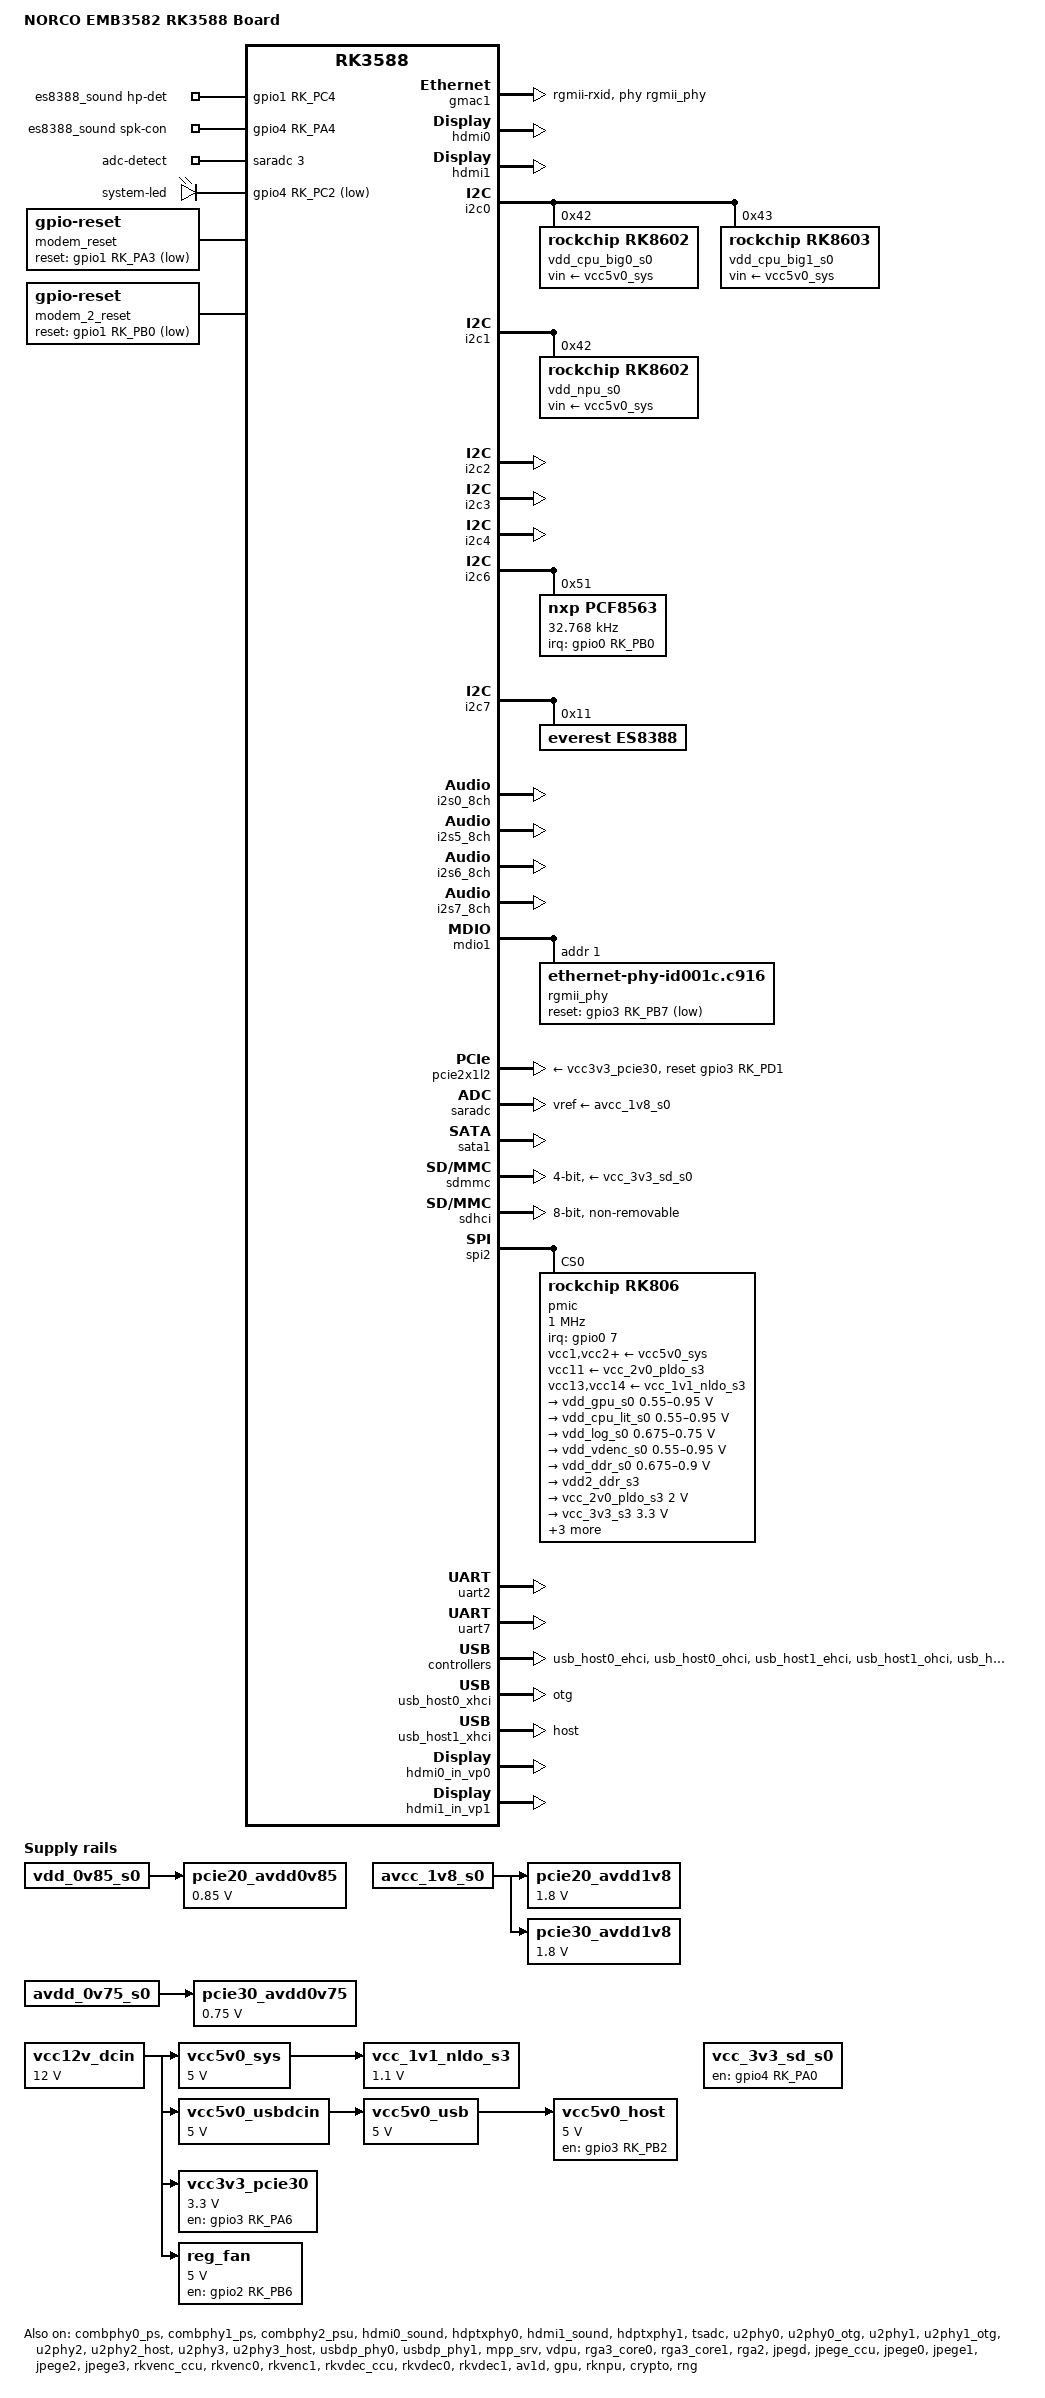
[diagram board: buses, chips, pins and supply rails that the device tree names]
// SPDX-License-Identifier: (GPL-2.0+ OR MIT)
/*
 * Copyright (c) 2021 Rockchip Electronics Co., Ltd.
 * Copyright (c) 2023 Thomas McKahan
 *
 */

/dts-v1/;

#include <dt-bindings/gpio/gpio.h>
#include <dt-bindings/interrupt-controller/irq.h>
#include <dt-bindings/input/rk-input.h>
#include <dt-bindings/leds/common.h>
#include <dt-bindings/pinctrl/rockchip.h>
#include <dt-bindings/display/rockchip_vop.h>
#include <dt-bindings/pwm/pwm.h>
#include "rk3588.dtsi"
#include "rk3588-android.dtsi"

/ {
	model = "NORCO EMB3582 RK3588 Board";
	compatible = "norco,rk3588-emb3582-v12", "rockchip,rk3588";

	aliases {
		ethernet0 = &gmac1;
		mmc0 = &sdhci;
		mmc1 = &sdmmc;
	};

	adc-keys {
		compatible = "adc-keys";
		io-channels = <&saradc 1>;
		io-channel-names = "buttons";
		keyup-threshold-microvolt = <1800000>;
		poll-interval = <100>;
		status = "disabled";

		button-vol-up {
			label = "Volume Up";
			linux,code = <KEY_VOLUMEUP>;
			press-threshold-microvolt = <17000>;
		};

		button-vol-down {
			label = "Volume Down";
			linux,code = <KEY_VOLUMEDOWN>;
			press-threshold-microvolt = <417000>;
		};

		button-menu {
			label = "Menu";
			linux,code = <KEY_MENU>;
			press-threshold-microvolt = <890000>;
		};

		button-back {
			label = "back";
			linux,code = <KEY_ESC>;
			press-threshold-microvolt = <1235000>;
		};
	};

	chosen {
		stdout-path = "serial2:1500000n8";
	};

	es8388_sound: es8388-sound {
		status = "okay";
		compatible = "rockchip,multicodecs-card";
		rockchip,card-name = "rockchip,es8388";
		hp-det-gpio = <&gpio1 RK_PC4 GPIO_ACTIVE_HIGH>;
		io-channels = <&saradc 3>;
		io-channel-names = "adc-detect";
		keyup-threshold-microvolt = <1800000>;
		poll-interval = <100>;
		spk-con-gpio = <&gpio4 RK_PA4 GPIO_ACTIVE_HIGH>;
		//hp-con-gpio = <&gpio1 RK_PD2 GPIO_ACTIVE_HIGH>;
		rockchip,format = "i2s";
		rockchip,mclk-fs = <256>;
		rockchip,cpu = <&i2s0_8ch>;
		rockchip,codec = <&es8388>;
		rockchip,audio-routing =
			"Headphone", "LOUT1",
			"Headphone", "ROUT1",
			"Speaker", "LOUT2",
			"Speaker", "ROUT2",
			"Headphone", "Headphone Power",
			"Headphone", "Headphone Power",
			"Speaker", "Speaker Power",
			"Speaker", "Speaker Power",
			"LINPUT1", "Main Mic",
			"LINPUT2", "Main Mic",
			"RINPUT1", "Headset Mic",
			"RINPUT2", "Headset Mic";
		pinctrl-names = "default";
		//pinctrl-0 = <&hp_det>;
		play-pause-key {
			label = "playpause";
			linux,code = <KEY_PLAYPAUSE>;
			press-threshold-microvolt = <2000>;
		};
	};





	leds {
		compatible = "gpio-leds";

		work_led: work {
			gpios = <&gpio4 RK_PC2 GPIO_ACTIVE_LOW>;
			label = "system-led";
			default-state = "off";
			linux,default-trigger = "heartbeat";
		};
	};

	modem_reset: modem-reset {
		compatible = "gpio-reset";
		reset-gpios = <&gpio1 RK_PA3 GPIO_ACTIVE_LOW>;
		reset-delay-us = <200000>;
		reset-post-delay-ms = <40>;
		#reset-cells = <0x00>;
	};

	modem_2_reset: modem-2-reset {
		compatible = "gpio-reset";
		reset-gpios = <&gpio1 RK_PB0 GPIO_ACTIVE_LOW>;
		reset-delay-us = <400000>;
		reset-post-delay-ms = <40>;
		#reset-cells = <0x00>;
	};

	reset-modem {
		compatible = "gpio-reset-consumer";
		resets = <&modem_reset>;
		usb-bus-port = "fc800000";
	};

	reset-modem-2 {
		compatible = "gpio-reset-consumer";
		resets = <&modem_2_reset>;
		usb-bus-port = "fc000000";
	};

	pwm_fan: pwm-fan {
		compatible = "pwm-fan";
		cooling-levels = <0 120 150 180 210 240 255>;
		pwms = <&pwm3 0 50000 0>;
		fan-supply = <&reg_fan>;
		#cooling-cells = <2>;
	};

	test-power {
		status = "okay";
	};

	vcc12v_dcin: regulator-vcc12v-dcin {
		compatible = "regulator-fixed";
		regulator-name = "vcc12v_dcin";
		regulator-always-on;
		regulator-boot-on;
		regulator-min-microvolt = <12000000>;
		regulator-max-microvolt = <12000000>;
	};

	/* vcc5v0_sys powers peripherals */
	vcc5v0_sys: regulator-vcc5v0-sys {
		compatible = "regulator-fixed";
		regulator-name = "vcc5v0_sys";
		regulator-always-on;
		regulator-boot-on;
		regulator-min-microvolt = <5000000>;
		regulator-max-microvolt = <5000000>;
		vin-supply = <&vcc12v_dcin>;
	};

	vcc5v0_usbdcin: regulator-vcc5v0-usbdcin {
		compatible = "regulator-fixed";
		regulator-name = "vcc5v0_usbdcin";
		regulator-always-on;
		regulator-boot-on;
		regulator-min-microvolt = <5000000>;
		regulator-max-microvolt = <5000000>;
		vin-supply = <&vcc12v_dcin>;
	};

	vcc5v0_usb: regulator-vcc5v0-usb {
		compatible = "regulator-fixed";
		regulator-name = "vcc5v0_usb";
		regulator-always-on;
		regulator-boot-on;
		regulator-min-microvolt = <5000000>;
		regulator-max-microvolt = <5000000>;
		vin-supply = <&vcc5v0_usbdcin>;
	};

	vcc5v0_host: vcc5v0-host {
		compatible = "regulator-fixed";
		regulator-name = "vcc5v0_host";
		regulator-boot-on;
		regulator-always-on;
		regulator-min-microvolt = <5000000>;
		regulator-max-microvolt = <5000000>;
		enable-active-high;
		gpio = <&gpio3 RK_PB2 GPIO_ACTIVE_HIGH>;
		vin-supply = <&vcc5v0_usb>;
		pinctrl-names = "default";
		pinctrl-0 = <&vcc5v0_host_en>;
	};

	/* vcc5v0_otg: vcc5v0-otg-regulator {
		compatible = "regulator-fixed";
		regulator-name = "vcc5v0_otg";
		regulator-min-microvolt = <5000000>;
		regulator-max-microvolt = <5000000>;
		enable-active-high;
		gpio = <&gpio4 RK_PA7 GPIO_ACTIVE_HIGH>;
		vin-supply = <&vcc5v0_sys>;
		pinctrl-names = "default";
		pinctrl-0 = <&vcc5v0_otg_en>;
	}; */

	pcie20_avdd0v85: pcie20-avdd0v85-regulator {
		compatible = "regulator-fixed";
		regulator-name = "pcie20_avdd0v85";
		regulator-always-on;
		regulator-boot-on;
		regulator-min-microvolt = <850000>;
		regulator-max-microvolt = <850000>;
		vin-supply = <&vdd_0v85_s0>;
	};

	pcie20_avdd1v8: pcie20-avdd1v8-regulator {
		compatible = "regulator-fixed";
		regulator-name = "pcie20_avdd1v8";
		regulator-always-on;
		regulator-boot-on;
		regulator-min-microvolt = <1800000>;
		regulator-max-microvolt = <1800000>;
		vin-supply = <&avcc_1v8_s0>;
	};

	pcie30_avdd0v75: pcie30-avdd0v75-regulator {
		compatible = "regulator-fixed";
		regulator-name = "pcie30_avdd0v75";
		regulator-always-on;
		regulator-boot-on;
		regulator-min-microvolt = <750000>;
		regulator-max-microvolt = <750000>;
		vin-supply = <&avdd_0v75_s0>;
	};

	pcie30_avdd1v8: pcie30-avdd1v8-regulator {
		compatible = "regulator-fixed";
		regulator-name = "pcie30_avdd1v8";
		regulator-always-on;
		regulator-boot-on;
		regulator-min-microvolt = <1800000>;
		regulator-max-microvolt = <1800000>;
		vin-supply = <&avcc_1v8_s0>;
	};

	vcc_1v1_nldo_s3: regulator-vcc-1v1-nldo-s3 {
		compatible = "regulator-fixed";
		regulator-name = "vcc-1v1-nldo-s3";
		regulator-always-on;
		regulator-boot-on;
		regulator-min-microvolt = <1100000>;
		regulator-max-microvolt = <1100000>;
		vin-supply = <&vcc5v0_sys>;
	};

	vcc3v3_pcie30: vcc3v3-pcie30-regulator {
		compatible = "regulator-fixed";
		enable-active-high;
		gpios = <&gpio3 RK_PA6 GPIO_ACTIVE_HIGH>;
		regulator-name = "vcc3v3_pcie30";
		regulator-min-microvolt = <3300000>;
		regulator-max-microvolt = <3300000>;
		startup-delay-us = <5000>;
		vin-supply = <&vcc12v_dcin>;
	};

	vcc_3v3_sd_s0: vcc-3v3-sd-s0-regulator {
		compatible = "regulator-fixed";
		regulator-name = "vcc_3v3_sd_s0";
		enable-active-high;
		gpio = <&gpio4 RK_PA0 GPIO_ACTIVE_HIGH>;
		pinctrl-names = "default";
		pinctrl-0 = <&sd_s0_pwr_1>;
	};

	reg_fan: reg-fan {
		compatible = "regulator-fixed";
		regulator-name = "reg_fan";
		regulator-boot-on;
		regulator-min-microvolt = <5000000>;
		regulator-max-microvolt = <5000000>;
		enable-active-high;
		gpios = <&gpio2 RK_PB6 GPIO_ACTIVE_HIGH>;
		vin-supply = <&vcc12v_dcin>;
	};

	/* wireless_bluetooth: wireless-bluetooth {
		compatible = "bluetooth-platdata";
		clocks = <&hym8563>;
		clock-names = "ext_clock";
		uart_rts_gpios = <&gpio3 RK_PA4 GPIO_ACTIVE_LOW>;
		pinctrl-names = "default", "rts_gpio";
		pinctrl-0 = <&uart8m1_rtsn>, <&bt_reset_gpio>, <&bt_wake_gpio>, <&bt_irq_gpio>;
		pinctrl-1 = <&uart8_gpios>;
		BT,reset_gpio    = <&gpio0 RK_PC6 GPIO_ACTIVE_HIGH>;
		BT,wake_gpio     = <&gpio0 RK_PC5 GPIO_ACTIVE_HIGH>;
		BT,wake_host_irq = <&gpio0 RK_PA0 GPIO_ACTIVE_HIGH>;
		status = "okay";
	};

	wireless_wlan: wireless-wlan {
		compatible = "wlan-platdata";
		wifi_chip_type = "ap6255";
		pinctrl-names = "default";
		pinctrl-0 = <&wifi_host_wake_irq>, <&wifi_poweren_gpio>;
		WIFI,host_wake_irq = <&gpio0 RK_PB2 GPIO_ACTIVE_HIGH>;
		WIFI,poweren_gpio = <&gpio0 RK_PC4 GPIO_ACTIVE_HIGH>;
		status = "okay";
	}; */

	reserved-memory {
		#address-cells = <2>;
		#size-cells = <2>;
		ranges;

		cma {
			compatible = "shared-dma-pool";
			reusable;
			/delete-property/ size;
			reg = <0x0 (256 * 0x100000) 0x0 (256 * 0x100000)>;
			linux,cma-default;
		};
	};
};

&combphy0_ps {
	status = "okay";
};

&combphy1_ps {
	status = "okay";
};

&combphy2_psu {
	status = "okay";
};

&cpu_l0 {
	cpu-supply = <&vdd_cpu_lit_s0>;
};

&cpu_l1 {
	cpu-supply = <&vdd_cpu_lit_s0>;
};

&cpu_l2 {
	cpu-supply = <&vdd_cpu_lit_s0>;
};

&cpu_l3 {
	cpu-supply = <&vdd_cpu_lit_s0>;
};

&cpu_b0 {
	cpu-supply = <&vdd_cpu_big0_s0>;
};

&cpu_b1 {
	cpu-supply = <&vdd_cpu_big0_s0>;
};

&cpu_b2 {
	cpu-supply = <&vdd_cpu_big1_s0>;
};

&cpu_b3 {
	cpu-supply = <&vdd_cpu_big1_s0>;
};

/* Use rgmii-rxid mode to disable rx delay inside Soc 
 * ethernet@fe1b0000 */
&gmac0 {
	status = "disabled";
};

/* Use rgmii-rxid mode to disable rx delay inside Soc 
 * ethernet@fe1c0000 */
&gmac1 {
	clock_in_out = "output";
	phy-handle = <&rgmii_phy>;
	phy-mode = "rgmii-rxid";
	pinctrl-names = "default";
	pinctrl-0 = <&gmac1_miim
		     &gmac1_tx_bus2
		     &gmac1_rx_bus2
		     &gmac1_rgmii_clk
		     &gmac1_rgmii_bus>;
	tx_delay = <0x42>;
	status = "okay";
};

/* hdmi@fde80000 */
&hdmi0 {
	enable-gpios = <&gpio4 RK_PB1 GPIO_ACTIVE_HIGH>;
	status = "okay";
};



&hdmi0_sound {
	status = "okay";
};

&hdptxphy0 {
	status = "okay";
};

/* hdmi@fdea0000 */
&hdmi1 {
	//enable-gpios = <&gpio4 RK_PB2 GPIO_ACTIVE_HIGH>;
	status = "okay";
};



&hdmi1_sound {
	status = "okay";
};

&hdptxphy1 {
	status = "okay";
};

 /* hdmi-in nodes */
&hdmi_receiver {
	status = "disabled";
};

&hdmi_receiver_cma {
	status = "disabled";
};

/* i2c@fd880000 */
&i2c0 {
	pinctrl-names = "default";
	pinctrl-0 = <&i2c0m2_xfer>;
	status = "okay";

	vdd_cpu_big0_s0: regulator@42 {
		compatible = "rockchip,rk8602";
		reg = <0x42>;
		fcs,suspend-voltage-selector = <1>;
		regulator-name = "vdd_cpu_big0_s0";
		regulator-always-on;
		regulator-boot-on;
		regulator-min-microvolt = <550000>;
		regulator-max-microvolt = <1050000>;
		regulator-ramp-delay = <2300>;
		vin-supply = <&vcc5v0_sys>;

		regulator-state-mem {
			regulator-off-in-suspend;
		};
	};

	vdd_cpu_big1_s0: regulator@43 {
		compatible = "rockchip,rk8603", "rockchip,rk8602";
		reg = <0x43>;
		fcs,suspend-voltage-selector = <1>;
		regulator-name = "vdd_cpu_big1_s0";
		regulator-always-on;
		regulator-boot-on;
		regulator-min-microvolt = <550000>;
		regulator-max-microvolt = <1050000>;
		regulator-ramp-delay = <2300>;
		vin-supply = <&vcc5v0_sys>;

		regulator-state-mem {
			regulator-off-in-suspend;
		};
	};
};

/* i2c@fea90000 */
&i2c1 {
	pinctrl-names = "default";
	pinctrl-0 = <&i2c1m2_xfer>;
	status = "okay";

	vdd_npu_s0: regulator@42 {
		compatible = "rockchip,rk8602";
		reg = <0x42>;
		fcs,suspend-voltage-selector = <1>;
		regulator-name = "vdd_npu_s0";
		regulator-always-on;
		regulator-boot-on;
		regulator-min-microvolt = <550000>;
		regulator-max-microvolt = <950000>;
		regulator-ramp-delay = <2300>;
		vin-supply = <&vcc5v0_sys>;

		regulator-state-mem {
			regulator-off-in-suspend;
		};
	};
};

/* i2c@feaa0000 */
&i2c2 {
	pinctrl-names = "default";
	pinctrl-0 = <&i2c2m4_xfer>;
	status = "okay";
};

/* i2c@feab0000 */
&i2c3 {
	pinctrl-names = "default";
	pinctrl-0 = <&i2c3m0_xfer>;
	status = "okay";
};

/* i2c@feac0000*/
&i2c4 {
	pinctrl-names = "default";
	pinctrl-0 = <&i2c4m1_xfer>;
	status = "okay";
};

/* i2c@fec80000 */
&i2c6 {
	pinctrl-names = "default";
	pinctrl-0 = <&i2c6m0_xfer>;
	status = "okay";

	pcf8563: pcf8563@51 {
		compatible = "nxp,pcf8563";
		reg = <0x51>;
		#clock-cells = <0>;
		clock-frequency = <32768>;
		clock-output-names = "pcf8563";
		interrupt-parent = <&gpio0>;
		interrupts = <RK_PB0 IRQ_TYPE_LEVEL_LOW>;
		pinctrl-names = "default";
		pinctrl-0 = <&pcf8563_int>;
		wakeup-source;
	};
};

/* i2c@fec90000 
 * es8388-sound */
&i2c7 {
	pinctrl-names = "default";
	pinctrl-0 = <&i2c7m0_xfer>;
	status = "okay";

	es8388: es8388@11 {
		status = "okay";
		#sound-dai-cells = <0>;
		compatible = "everest,es8388","everest,es8323";
		reg = <0x11>;
		clocks = <&cru I2S0_8CH_MCLKOUT>;
		clock-names = "mclk";
		assigned-clocks = <&cru I2S0_8CH_MCLKOUT>;
		assigned-clock-rates = <12288000>;
		pinctrl-names = "default";
		pinctrl-0 = <&i2s0_mclk>;
	};
};

/* i2s@fe470000 
 * es8388-sound */
&i2s0_8ch {
	pinctrl-names = "default", "idle", "clk";
	pinctrl-0 = <&i2s0_lrck
		     &i2s0_sclk
		     &i2s0_sdi0
		     &i2s0_sdo0>;
	pinctrl-1 = <&i2s0_idle>;
	pinctrl-2 = <&i2s0_lrck 
			 &i2s0_sclk>;
	#sound-dai-cells = <0>;
	status = "okay";
};

/* i2s@fddf0000 
 * hdmi0-sound */
&i2s5_8ch {
	#sound-dai-cells = <0>;
	status = "okay";
};

/* i2s@fddf4000 
 * hdmi1-sound */
&i2s6_8ch {
	#sound-dai-cells = <0>;
	status = "okay";
};

/* i2s@fddf8000 
 * hdmiin-sound */
&i2s7_8ch {
	#sound-dai-cells = <0>;
	status = "okay";
};

&mdio1 {
	rgmii_phy: ethernet-phy@1 {
		/* RTL8211F */
		compatible = "ethernet-phy-id001c.c916";
		reg = <0x1>;
		pinctrl-names = "default";
		pinctrl-0 = <&rtl8211f_rst>;
		reset-assert-us = <20000>;
		reset-deassert-us = <100000>;
		reset-gpios = <&gpio3 RK_PB7 GPIO_ACTIVE_LOW>;
	};
};

&package_thermal {
	polling-delay = <1000>;

	trips {
		package_fan0: package-fan0 {
			temperature = <55000>;
			hysteresis = <2000>;
			type = "active";
		};

		package_fan1: package-fan1 {
			temperature = <65000>;
			hysteresis = <2000>;
			type = "active";
		};
	};

	cooling-maps {
		map1 {
			trip = <&package_fan0>;
			cooling-device = <&pwm_fan THERMAL_NO_LIMIT 1>;
		};

		map2 {
			trip = <&package_fan1>;
			cooling-device = <&pwm_fan 2 THERMAL_NO_LIMIT>;
		};
	};
};

/* pcie@fe170000 */
&pcie2x1l0 {
	rockchip,pipe-grf = <&php_grf>;
	reset-gpios = <&gpio1 RK_PB4 GPIO_ACTIVE_HIGH>;
	//rockchip,skip-scan-in-resume;
	status = "disabled";
};

/* pcie@fe180000 */
&pcie2x1l1 {
	rockchip,pipe-grf = <&php_grf>;
	//reset-gpios = <&gpio4 RK_PA2 GPIO_ACTIVE_HIGH>;
	//pinctrl-names = "default";
	//pinctrl-0 = <&rtl8111_isolate>;
	status = "disabled";
};

/* pcie@fe190000 
 * rtl8111 PCIEX1_1 */
&pcie2x1l2 {
	rockchip,pipe-grf = <&php_grf>;
	reset-gpios = <&gpio3 RK_PD1 GPIO_ACTIVE_HIGH>;
	vpcie3v3-supply = <&vcc3v3_pcie30>;
	//pinctrl-names = "default";
	//pinctrl-0 = <&rtl8111_isolate>;
	status = "okay";
};

/* phy@fee80000 */
&pcie30phy {
	//data-lanes = <1 1 2 2>;
	status = "disabled";
};

/* pcie@fe160000 
 * m2 nvme1 */
&pcie3x2 {
	//reset-gpios = <&gpio1 RK_PB7 GPIO_ACTIVE_HIGH>;
	//vpcie3v3-supply = <&vcc3v3_pcie30>;
	status = "disabled";
};

/* pcie@fe150000 
 * m2 nvme2 */
&pcie3x4 {
	//num-lanes=<2>;
	reset-gpios = <&gpio4 RK_PB6 GPIO_ACTIVE_HIGH>;
	vpcie3v3-supply = <&vcc3v3_pcie30>;
	status = "disabled";
	pinctrl-names = "default";
	pinctrl-0 = <&pcie30x4_clkreqn_m1>;
};

&pinctrl {

	headphone {
		hp_det: hp-det {
			rockchip,pins = <1 RK_PC4 RK_FUNC_GPIO &pcfg_pull_none>;
		};
	};

	i2s0 {
		i2s0_idle: i2s0-idle {
			rockchip,pins = <1 RK_PC5 RK_FUNC_GPIO &pcfg_pull_up 
							1 RK_PC3 RK_FUNC_GPIO &pcfg_pull_up>;
		};
	};

	pcf8563 {
		pcf8563_int: pcf8563-int {
			rockchip,pins = <0 RK_PB0 RK_FUNC_GPIO &pcfg_pull_up>;
		};
	};

	/* rtl8111 {
		rtl8111_isolate: rtl8111-isolate {
			rockchip,pins = <1 RK_PA4 RK_FUNC_GPIO &pcfg_pull_up>;
		};
	}; */

	rtl8211f {
		rtl8211f_rst: rtl8211f-rst {
			rockchip,pins = <3 RK_PB7 RK_FUNC_GPIO &pcfg_pull_none>;
		};
	};

	pcie30x4 {
		pcie30x4_clkreqn_m1: pcie30x4-clkreqn-m1 {
			rockchip,pins = <4 RK_PB4 RK_FUNC_GPIO &pcfg_pull_down>;
		};
	};

	usb {
		vcc5v0_host_en: vcc5v0-host-en {
			rockchip,pins = <3 RK_PB2 RK_FUNC_GPIO &pcfg_pull_none>;
		};

		/* vcc5v0_otg_en: vcc5v0-otg-en {
			rockchip,pins = <4 RK_PA7 RK_FUNC_GPIO &pcfg_pull_none>;
		}; */
	};

	sdmmc {
		sd_s0_pwr_1: sd-s0-pwr-1 {
			rockchip,pins = <4 RK_PA0 RK_FUNC_GPIO &pcfg_pull_up>;
		};
	};

	/* wireless-bluetooth {
		uart8_gpios: uart8-gpios {
			rockchip,pins = <3 RK_PA4 RK_FUNC_GPIO &pcfg_pull_none>;
		};

		bt_reset_gpio: bt-reset-gpio {
			rockchip,pins = <0 RK_PC6 RK_FUNC_GPIO &pcfg_pull_none>;
		};

		bt_wake_gpio: bt-wake-gpio {
			rockchip,pins = <0 RK_PC5 RK_FUNC_GPIO &pcfg_pull_none>;
		};

		bt_irq_gpio: bt-irq-gpio {
			rockchip,pins = <0 RK_PA0 RK_FUNC_GPIO &pcfg_pull_down>;
		};
	};

	wireless-wlan {
		wifi_host_wake_irq: wifi-host-wake-irq {
			rockchip,pins = <0 RK_PB2 RK_FUNC_GPIO &pcfg_pull_down>;
		};

		wifi_poweren_gpio: wifi-poweren-gpio {
			rockchip,pins = <0 RK_PC4 RK_FUNC_GPIO &pcfg_pull_up>;
		};
	}; */
};

/* pwm@fd8b0030 
 * pwm-fan */
&pwm3 {
	pinctrl-names = "active";
	pinctrl-0 = <&pwm3m1_pins>;
	status = "okay";
};

&saradc {
	vref-supply = <&avcc_1v8_s0>;
	status = "okay";
};

/* sata@fe210000 */
&sata0 {
	status = "disabled";
};

/* sata@fe220000 */
&sata1 {
	status = "okay";
};

/* sata@fe230000 */
&sata2 {
	status = "disabled";
};

/* mmc@fe2c0000 
 * tf-card */
&sdmmc {
	max-frequency = <150000000>;
	no-sdio;
	no-mmc;
	bus-width = <4>;
	cap-mmc-highspeed;
	cap-sd-highspeed;
	disable-wp;
	sd-uhs-sdr104;
	vqmmc-supply = <&vccio_sd_s0>;
	vmmc-supply = <&vcc_3v3_sd_s0>;
	pinctrl-names = "default";
	pinctrl-0 = <&sdmmc_clk &sdmmc_cmd &sdmmc_det &sdmmc_bus4>;
	status = "okay";
};

/* mmc@fe2d0000 
 * wireless_wlan & wireless_bluetooth */
/* &sdio {
	no-sdio;
	no-mmc;
	bus-width = <4>;
	disable-wp;
	cap-sd-highspeed;
	cap-sdio-irq;
	keep-power-in-suspend;
	mmc-pwrseq = <&sdio_pwrseq>;
	non-removable;
	sd-uhs-sdr104;
	status = "disabled";
}; */

/* mmc@fe2e0000 
 * emmc */
&sdhci {
	max-frequency = <150000000>;
	bus-width = <8>;
	mmc-hs400-1_8v;
	//mmc-hs400-enhanced-strobe;
	no-sdio;
	no-sd;
	non-removable;
	full-pwr-cycle-in-suspend;
	status = "okay";
};

&spi2 {
	status = "okay";
	assigned-clocks = <&cru CLK_SPI2>;
	assigned-clock-rates = <200000000>;
	pinctrl-names = "default";
	pinctrl-0 = <&spi2m2_cs0 &spi2m2_pins>;
	num-cs = <1>;

	pmic@0 {
		compatible = "rockchip,rk806";
		spi-max-frequency = <1000000>;
		reg = <0x0>;

		interrupt-parent = <&gpio0>;
		interrupts = <7 IRQ_TYPE_LEVEL_LOW>;

		pinctrl-names = "default";
		pinctrl-0 = <&pmic_pins>, <&rk806_dvs1_null>,
			    <&rk806_dvs2_null>, <&rk806_dvs3_null>;

		system-power-controller;

		vcc1-supply = <&vcc5v0_sys>;
		vcc2-supply = <&vcc5v0_sys>;
		vcc3-supply = <&vcc5v0_sys>;
		vcc4-supply = <&vcc5v0_sys>;
		vcc5-supply = <&vcc5v0_sys>;
		vcc6-supply = <&vcc5v0_sys>;
		vcc7-supply = <&vcc5v0_sys>;
		vcc8-supply = <&vcc5v0_sys>;
		vcc9-supply = <&vcc5v0_sys>;
		vcc10-supply = <&vcc5v0_sys>;
		vcc11-supply = <&vcc_2v0_pldo_s3>;
		vcc12-supply = <&vcc5v0_sys>;
		vcc13-supply = <&vcc_1v1_nldo_s3>;
		vcc14-supply = <&vcc_1v1_nldo_s3>;
		vcca-supply = <&vcc5v0_sys>;

		gpio-controller;
		#gpio-cells = <2>;

		rk806_dvs1_null: dvs1-null-pins {
			pins = "gpio_pwrctrl1";
			function = "pin_fun0";
		};

		rk806_dvs2_null: dvs2-null-pins {
			pins = "gpio_pwrctrl2";
			function = "pin_fun0";
		};

		rk806_dvs3_null: dvs3-null-pins {
			pins = "gpio_pwrctrl3";
			function = "pin_fun0";
		};

		regulators {
			vdd_gpu_s0: vdd_gpu_mem_s0: dcdc-reg1 {
				regulator-boot-on;
				regulator-min-microvolt = <550000>;
				regulator-max-microvolt = <950000>;
				regulator-ramp-delay = <12500>;
				regulator-name = "vdd_gpu_s0";
				regulator-enable-ramp-delay = <400>;

				regulator-state-mem {
					regulator-off-in-suspend;
				};
			};

			vdd_cpu_lit_s0: vdd_cpu_lit_mem_s0: dcdc-reg2 {
				regulator-always-on;
				regulator-boot-on;
				regulator-min-microvolt = <550000>;
				regulator-max-microvolt = <950000>;
				regulator-ramp-delay = <12500>;
				regulator-name = "vdd_cpu_lit_s0";

				regulator-state-mem {
					regulator-off-in-suspend;
				};
			};

			vdd_log_s0: dcdc-reg3 {
				regulator-always-on;
				regulator-boot-on;
				regulator-min-microvolt = <675000>;
				regulator-max-microvolt = <750000>;
				regulator-ramp-delay = <12500>;
				regulator-name = "vdd_log_s0";

				regulator-state-mem {
					regulator-off-in-suspend;
					regulator-suspend-microvolt = <750000>;
				};
			};

			vdd_vdenc_s0: vdd_vdenc_mem_s0: dcdc-reg4 {
				regulator-always-on;
				regulator-boot-on;
				regulator-min-microvolt = <550000>;
				regulator-max-microvolt = <950000>;
				regulator-ramp-delay = <12500>;
				regulator-name = "vdd_vdenc_s0";

				regulator-state-mem {
					regulator-off-in-suspend;
				};
			};

			vdd_ddr_s0: dcdc-reg5 {
				regulator-always-on;
				regulator-boot-on;
				regulator-min-microvolt = <675000>;
				regulator-max-microvolt = <900000>;
				regulator-ramp-delay = <12500>;
				regulator-name = "vdd_ddr_s0";

				regulator-state-mem {
					regulator-off-in-suspend;
					regulator-suspend-microvolt = <850000>;
				};
			};

			vdd2_ddr_s3: dcdc-reg6 {
				regulator-always-on;
				regulator-boot-on;
				regulator-name = "vdd2_ddr_s3";

				regulator-state-mem {
					regulator-on-in-suspend;
				};
			};

			vcc_2v0_pldo_s3: dcdc-reg7 {
				regulator-always-on;
				regulator-boot-on;
				regulator-min-microvolt = <2000000>;
				regulator-max-microvolt = <2000000>;
				regulator-ramp-delay = <12500>;
				regulator-name = "vdd_2v0_pldo_s3";

				regulator-state-mem {
					regulator-on-in-suspend;
					regulator-suspend-microvolt = <2000000>;
				};
			};

			vcc_3v3_s3: dcdc-reg8 {
				regulator-always-on;
				regulator-boot-on;
				regulator-min-microvolt = <3300000>;
				regulator-max-microvolt = <3300000>;
				regulator-name = "vcc_3v3_s3";

				regulator-state-mem {
					regulator-on-in-suspend;
					regulator-suspend-microvolt = <3300000>;
				};
			};

			vddq_ddr_s0: dcdc-reg9 {
				regulator-always-on;
				regulator-boot-on;
				regulator-name = "vddq_ddr_s0";

				regulator-state-mem {
					regulator-off-in-suspend;
				};
			};

			vcc_1v8_s3: dcdc-reg10 {
				regulator-always-on;
				regulator-boot-on;
				regulator-min-microvolt = <1800000>;
				regulator-max-microvolt = <1800000>;
				regulator-name = "vcc_1v8_s3";

				regulator-state-mem {
					regulator-on-in-suspend;
					regulator-suspend-microvolt = <1800000>;
				};
			};

			avcc_1v8_s0: pldo-reg1 {
				regulator-always-on;
				regulator-boot-on;
				regulator-min-microvolt = <1800000>;
				regulator-max-microvolt = <1800000>;
				regulator-name = "avcc_1v8_s0";

				regulator-state-mem {
					regulator-off-in-suspend;
				};
			};

			vcc_1v8_s0: pldo-reg2 {
				regulator-always-on;
				regulator-boot-on;
				regulator-min-microvolt = <1800000>;
				regulator-max-microvolt = <1800000>;
				regulator-name = "vcc_1v8_s0";

				regulator-state-mem {
					regulator-off-in-suspend;
					regulator-suspend-microvolt = <1800000>;
				};
			};

			avdd_1v2_s0: pldo-reg3 {
				regulator-always-on;
				regulator-boot-on;
				regulator-min-microvolt = <1200000>;
				regulator-max-microvolt = <1200000>;
				regulator-name = "avdd_1v2_s0";

				regulator-state-mem {
					regulator-off-in-suspend;
				};
			};

			vcc_3v3_s0: pldo-reg4 {
				regulator-always-on;
				regulator-boot-on;
				regulator-min-microvolt = <3300000>;
				regulator-max-microvolt = <3300000>;
				regulator-ramp-delay = <12500>;
				regulator-name = "vcc_3v3_s0";

				regulator-state-mem {
					regulator-off-in-suspend;
				};
			};

			vccio_sd_s0: pldo-reg5 {
				regulator-always-on;
				regulator-boot-on;
				regulator-min-microvolt = <1800000>;
				regulator-max-microvolt = <3300000>;
				regulator-ramp-delay = <12500>;
				regulator-name = "vccio_sd_s0";

				regulator-state-mem {
					regulator-off-in-suspend;
				};
			};

			pldo6_s3: pldo-reg6 {
				regulator-always-on;
				regulator-boot-on;
				regulator-min-microvolt = <1800000>;
				regulator-max-microvolt = <1800000>;
				regulator-name = "pldo6_s3";

				regulator-state-mem {
					regulator-on-in-suspend;
					regulator-suspend-microvolt = <1800000>;
				};
			};

			vdd_0v75_s3: nldo-reg1 {
				regulator-always-on;
				regulator-boot-on;
				regulator-min-microvolt = <750000>;
				regulator-max-microvolt = <750000>;
				regulator-name = "vdd_0v75_s3";

				regulator-state-mem {
					regulator-on-in-suspend;
					regulator-suspend-microvolt = <750000>;
				};
			};

			vdd_ddr_pll_s0: nldo-reg2 {
				regulator-always-on;
				regulator-boot-on;
				regulator-min-microvolt = <850000>;
				regulator-max-microvolt = <850000>;
				regulator-name = "vdd_ddr_pll_s0";

				regulator-state-mem {
					regulator-off-in-suspend;
					regulator-suspend-microvolt = <850000>;
				};
			};

			avdd_0v75_s0: nldo-reg3 {
				regulator-always-on;
				regulator-boot-on;
				regulator-min-microvolt = <750000>;
				regulator-max-microvolt = <750000>;
				regulator-name = "avdd_0v75_s0";

				regulator-state-mem {
					regulator-off-in-suspend;
				};
			};

			vdd_0v85_s0: nldo-reg4 {
				regulator-always-on;
				regulator-boot-on;
				regulator-min-microvolt = <850000>;
				regulator-max-microvolt = <850000>;
				regulator-name = "vdd_0v85_s0";

				regulator-state-mem {
					regulator-off-in-suspend;
				};
			};

			vdd_0v75_s0: nldo-reg5 {
				regulator-always-on;
				regulator-boot-on;
				regulator-min-microvolt = <750000>;
				regulator-max-microvolt = <750000>;
				regulator-name = "vdd_0v75_s0";

				regulator-state-mem {
					regulator-off-in-suspend;
				};
			};
		};
	};
};

&tsadc {
	status = "okay";
};

/* serial@fd890000 */
&uart0 {
	status = "disabled";
	pinctrl-names = "default";
	pinctrl-0 = <&uart0m1_xfer>;
};

/* serial@feb40000 */
&uart1 {
	pinctrl-names = "default";
	pinctrl-0 = <&uart1m1_xfer>;
	status = "disabled";
};

/* serial@feb50000 
 * TTL */
&uart2 {
	pinctrl-names = "default";
	pinctrl-0 = <&uart2m0_xfer>;
	status = "okay";
};

/* serial@feb60000 */
&uart3 {
	pinctrl-names = "default";
	pinctrl-0 = <&uart3m1_xfer>;
	status = "disabled";
};

/* serial@feb70000 */
&uart4 {
	pinctrl-names = "default";
	pinctrl-0 = <&uart4m2_xfer>;
	status = "disabled";
};

/* serial@fdba0000 */
&uart7 {
	pinctrl-names = "default";
	pinctrl-0 = <&uart7m2_xfer>;
	status = "okay";
};

/* serial@fdbb0000 */
&uart8 {
	status = "disabled";
	pinctrl-names = "default";
	pinctrl-0 = <&uart8m1_xfer>;
};

/* serial@febc0000 */
&uart9 {
	status = "okay";
	pinctrl-names = "default";
	pinctrl-0 = <&uart9m0_xfer &uart9m0_ctsn>;
};

/* syscon@fd5d0000 */
&u2phy0 {
	status = "okay";
};

&u2phy0_otg {
	//vbus-supply = <&vcc5v0_otg>;
	//phy-supply = <&vcc5v0_host>;
	status = "okay";
};

/* syscon@fd5d4000 */
&u2phy1 {
	status = "okay";
};

&u2phy1_otg {
	phy-supply = <&vcc5v0_host>;
	status = "okay";
};

/* syscon@fd5d8000 */
&u2phy2 {
	status = "okay";
};

&u2phy2_host {
	phy-supply = <&vcc5v0_host>;
	status = "okay";
};

/* syscon@fd5dc000 */
&u2phy3 {
	status = "okay";
};

&u2phy3_host {
	phy-supply = <&vcc5v0_host>;
	status = "okay";
};

/* phy@fed80000 */
&usbdp_phy0 {
	//orientation-switch;
	//sbu1-dc-gpios = <&gpio4 RK_PA6 GPIO_ACTIVE_HIGH>;
	//sbu2-dc-gpios = <&gpio4 RK_PA7 GPIO_ACTIVE_HIGH>;
	rockchip,dp-lane-mux = <0 1>;
	status = "okay";
};

/* phy@fed90000 */
&usbdp_phy1 {
	status = "okay";
	maximum-speed = "high-speed";
	rockchip,dp-lane-mux = <3 2 1 0>;
};

/* usb@fc800000 
 * phy is u2phy2_host */
&usb_host0_ehci {
	status = "okay";
};

/* usb@fc840000 
 * phy is u2phy2_host */
&usb_host0_ohci {
	status = "okay";
};

/*   usb@fc000000
 * typec0:
 *   host: usb_host0_xhci
 *   usb2.0 phy: usb2phy0_grf/u2phy0/u2phy0_otg
 *   usb3.0 phy: usbdp_phy0
 */
&usb_host0_xhci {
	extcon = <&u2phy0>;
	dr_mode = "otg";
	status = "okay";
};

/* usb@fc880000 
 * phy is u2phy3_host */
&usb_host1_ehci {
	status = "okay";
};

/* usb@fc8c0000 
 * phy is u2phy3_host */
&usb_host1_ohci {
	status = "okay";
};

/* usb@fc400000
 * typec1:
 * host: usb_host1_xhci
 * usb2.0 phy: usb2phy1_grf/u2phy1/u2phy1_otg
 * usb3.0 phy: usbdp_phy1
 * connect to TYPEC HUB
 */ 
&usb_host1_xhci {
	dr_mode = "host";
	maximum-speed = "high-speed";
	status = "okay";
};

/* usb@fcd00000
 * phy is combphy2_psu
 * but combphy2_psu is used by pcie2x1l1
 */
&usb_host2_xhci {
	status = "okay";
};

/* mpp vpu gpu npu */
&mpp_srv {
	status = "okay";
};

&vdpu {
	status = "okay";
};

&vdpu_mmu {
	status = "okay";
};

&rga3_core0 {
	status = "okay";
};

&rga3_0_mmu {
	status = "okay";
};

&rga3_core1 {
	status = "okay";
};

&rga3_1_mmu {
	status = "okay";
};

&rga2 {
	status = "okay";
};

&jpegd {
	status = "okay";
};

&jpegd_mmu {
	status = "okay";
};

&jpege_ccu {
	status = "okay";
};

&jpege0 {
	status = "okay";
};

&jpege0_mmu {
	status = "okay";
};

&jpege1 {
	status = "okay";
};

&jpege1_mmu {
	status = "okay";
};

&jpege2 {
	status = "okay";
};

&jpege2_mmu {
	status = "okay";
};

&jpege3 {
	status = "okay";
};

&jpege3_mmu {
	status = "okay";
};

&rkvenc_ccu {
	status = "okay";
};

&rkvenc0 {
	venc-supply = <&vdd_vdenc_s0>;
	mem-supply = <&vdd_vdenc_mem_s0>;
	status = "okay";
};

&rkvenc0_mmu {
	status = "okay";
};

&rkvenc1 {
	venc-supply = <&vdd_vdenc_s0>;
	mem-supply = <&vdd_vdenc_mem_s0>;
	status = "okay";
};

&rkvenc1_mmu {
	status = "okay";
};

&rkvdec_ccu {
	status = "okay";
};

&rkvdec0 {
	status = "okay";
};

&rkvdec0_mmu {
	status = "okay";
};

&rkvdec1 {
	status = "okay";
};

&rkvdec1_mmu {
	status = "okay";
};

&av1d {
	status = "okay";
};

&av1d_mmu {
	status = "okay";
};

&pd_gpu {
	domain-supply = <&vdd_gpu_s0>;
};

&gpu {
	operating-points-v2 = <&gpu_opp_table>;
	mali-supply = <&vdd_gpu_s0>;
	mem-supply = <&vdd_gpu_mem_s0>;
	upthreshold = <60>;
	downdifferential = <30>;
	power-off-delay-ms = <200>;
	status = "okay";
};

/* &pd_npu {
	domain-supply = <&vdd_npu_s0>;
}; */

&rknpu {
	rknpu-supply = <&vdd_npu_s0>;
	mem-supply = <&vdd_npu_s0>;
	status = "okay";
};

&rknpu_mmu {
	status = "okay";
};

&crypto {
	status = "okay";
};

&rng {
	status = "okay";
};

/* display generator */
&vop_mmu {
	status = "okay";
};

&vop {
	status = "okay";
};


/* ===== Android bring-up additions for EMB3582 ===== */
&hdmi0_in_vp0 { status = "okay"; };
&hdmi1_in_vp1 { status = "okay"; };

&route_hdmi0 {
	status = "okay";
	connect = <&vp0_out_hdmi0>;
	force-output;
	logo,uboot = "logo.bmp";
	logo,kernel = "logo_kernel.bmp";
	logo,mode = "center";
	charge_logo,mode = "center";
};

&route_hdmi1 {
	status = "okay";
	connect = <&vp1_out_hdmi1>;
	force-output;
	logo,uboot = "logo.bmp";
	logo,kernel = "logo_kernel.bmp";
	logo,mode = "center";
	charge_logo,mode = "center";
};

&vop {
	assigned-clocks = <&cru ACLK_VOP>;
	assigned-clock-rates = <800000000>;
	status = "okay";
};

&display_subsystem {
	clocks = <&hdptxphy_hdmi0>, <&hdptxphy_hdmi1>;
	clock-names = "hdmi0_phy_pll", "hdmi1_phy_pll";
};

&vp0 {
	rockchip,plane-mask = <(1 << ROCKCHIP_VOP2_CLUSTER0 | 1 << ROCKCHIP_VOP2_ESMART0)>;
	rockchip,primary-plane = <ROCKCHIP_VOP2_ESMART0>;
};

&vp1 {
	rockchip,plane-mask = <(1 << ROCKCHIP_VOP2_CLUSTER1 | 1 << ROCKCHIP_VOP2_ESMART1)>;
	rockchip,primary-plane = <ROCKCHIP_VOP2_ESMART1>;
};

&pwm3 { status = "disabled"; };
&pwm_fan { status = "disabled"; };
&uart9 { status = "disabled"; };
